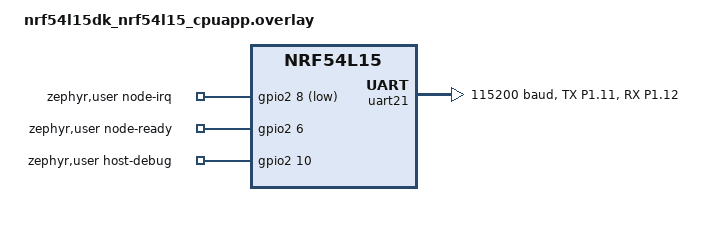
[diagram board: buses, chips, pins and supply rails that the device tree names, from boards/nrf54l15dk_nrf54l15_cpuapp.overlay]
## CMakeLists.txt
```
cmake_minimum_required(VERSION 3.20.0)

# Zephyr discovers out-of-tree modules while find_package() runs, so this list
# must be complete before loading Zephyr.
get_filename_component(MULTI_MCU_ROOT "${CMAKE_CURRENT_LIST_DIR}/../.." ABSOLUTE)
list(APPEND EXTRA_ZEPHYR_MODULES
    "${MULTI_MCU_ROOT}/libraries/protocol"
    "${MULTI_MCU_ROOT}/libraries/node-api"
    "${MULTI_MCU_ROOT}/libraries/diagnostics"
    "${MULTI_MCU_ROOT}/libraries/boot-protocol"
    "${MULTI_MCU_ROOT}/libraries/firmware-image"
    "${MULTI_MCU_ROOT}/libraries/stm32-rom-boot"
)

find_package(Zephyr REQUIRED HINTS $ENV{ZEPHYR_BASE})
project(multi_mcu_host C)

option(MULTI_MCU_PHASE6_UNCONFIRMED_TRIAL_DEMO
       "Build a development image that deliberately remains unconfirmed" OFF)
option(MULTI_MCU_PHASE7_STM_BOOTLOADER_DEMO
       "Build the opt-in STM32 custom bootloader recovery/update client" OFF)
option(MULTI_MCU_PHASE9_CONTROL "Build the opt-in MCUmanager host control group" OFF)
option(MULTI_MCU_PHASE10_UPDATE "Build PC-streamed STM32 updates and supervision" OFF)
option(MULTI_MCU_PHASE11_ROM "Build factory ROM bootloader repair" OFF)
option(MULTI_MCU_PHASE12_METRICS "Build operator reliability metrics" OFF)
option(MULTI_MCU_RELIABILITY "Build watchdog and automatic node recovery" OFF)

# Sysbuild stores image-scoped command-line values as properties; plain option()
# does not import them into the child application's CMake cache.
if(SYSBUILD)
    foreach(profile_option MULTI_MCU_PHASE6_UNCONFIRMED_TRIAL_DEMO
                           MULTI_MCU_PHASE7_STM_BOOTLOADER_DEMO
                           MULTI_MCU_PHASE9_CONTROL MULTI_MCU_PHASE10_UPDATE
                           MULTI_MCU_PHASE11_ROM MULTI_MCU_PHASE12_METRICS MULTI_MCU_RELIABILITY)
        unset(profile_value)
        zephyr_get(profile_value VAR ${profile_option})
        if(DEFINED profile_value)
            set(${profile_option} "${profile_value}" CACHE BOOL "Selected firmware profile" FORCE)
        endif()
    endforeach()
endif()
if(MULTI_MCU_PHASE10_UPDATE AND NOT MULTI_MCU_PHASE9_CONTROL)
    message(FATAL_ERROR "Phase 10 requires Phase 9 control")
endif()
if(MULTI_MCU_PHASE11_ROM AND NOT MULTI_MCU_PHASE10_UPDATE)
    message(FATAL_ERROR "Phase 11 requires Phase 10")
endif()
if(MULTI_MCU_PHASE12_METRICS AND NOT MULTI_MCU_PHASE11_ROM)
    message(FATAL_ERROR "Phase 12 requires Phase 11 recovery")
endif()
if(MULTI_MCU_PHASE9_CONTROL AND MULTI_MCU_PHASE7_STM_BOOTLOADER_DEMO)
    message(FATAL_ERROR "Phase 9 control and Phase 7 demo are independent profiles")
endif()
set(MULTI_MCU_PHASE7_STM_IMAGE "" CACHE FILEPATH
    "Optional signed STM32 slot image embedded in the Phase 7 demo")

if(MULTI_MCU_PHASE7_STM_BOOTLOADER_DEMO)
    target_sources(app PRIVATE
        src/phase7_bootloader_main.c
        src/bootloader/HostBootloaderClient.c
        src/communication/HostTransport.c
    )
    target_compile_definitions(app PRIVATE MULTI_MCU_PHASE7_STM_BOOTLOADER_DEMO=1)
    if(MULTI_MCU_PHASE7_STM_IMAGE)
        get_filename_component(MULTI_MCU_PHASE7_STM_IMAGE_ABS
            "${MULTI_MCU_PHASE7_STM_IMAGE}" ABSOLUTE BASE_DIR "${CMAKE_CURRENT_SOURCE_DIR}")
        if(NOT EXISTS "${MULTI_MCU_PHASE7_STM_IMAGE_ABS}")
            message(FATAL_ERROR "STM32 signed image not found: ${MULTI_MCU_PHASE7_STM_IMAGE_ABS}")
        endif()
        generate_inc_file_for_target(app "${MULTI_MCU_PHASE7_STM_IMAGE_ABS}"
                                     "${ZEPHYR_BINARY_DIR}/include/generated/phase7_stm_image.inc")
        target_compile_definitions(app PRIVATE MULTI_MCU_PHASE7_STM_IMAGE_EMBEDDED=1)
    endif()
else()
    target_sources(app PRIVATE
        src/main.c
        src/communication/HostTransport.c
        src/node_manager/HostNodeManager.c
        src/platform/HostSignals.c
    )
endif()

if(MULTI_MCU_PHASE9_CONTROL)
    if(NOT CONFIG_MCUMGR)
        message(FATAL_ERROR "Phase 9 requires phase6_mcumgr.conf and phase9_control.conf")
    endif()
    target_sources(app PRIVATE src/control/HostControl.c)
    target_compile_definitions(app PRIVATE MULTI_MCU_PHASE9_CONTROL=1)
endif()
if(MULTI_MCU_PHASE10_UPDATE)
    target_sources(app PRIVATE src/control/HostUpdateAdapter.c src/bootloader/HostStmUpdate.c)
    target_compile_definitions(app PRIVATE MULTI_MCU_PHASE10_UPDATE=1)
    target_compile_options(app PRIVATE -fstack-usage)
endif()
if(MULTI_MCU_PHASE11_ROM)
    target_compile_definitions(app PRIVATE MULTI_MCU_PHASE11_ROM=1)
endif()
if(MULTI_MCU_PHASE12_METRICS)
    target_compile_definitions(app PRIVATE MULTI_MCU_PHASE12_METRICS=1)
endif()

target_include_directories(app PRIVATE
    include
    "${MULTI_MCU_ROOT}/examples/virtual-io/include"
)
if(MULTI_MCU_PHASE6_UNCONFIRMED_TRIAL_DEMO)
    target_compile_definitions(app PRIVATE MULTI_MCU_PHASE6_UNCONFIRMED_TRIAL_DEMO=1)
endif()

if(MULTI_MCU_RELIABILITY)
    if(NOT MULTI_MCU_PHASE12_METRICS OR NOT CONFIG_WATCHDOG OR NOT CONFIG_HWINFO)
        message(FATAL_ERROR "Reliability requires Phase12 plus reliability.conf")
    endif()
    target_sources(app PRIVATE src/platform/HostReliability.c src/platform/HostRecoveryPolicy.c)
    target_compile_definitions(app PRIVATE MULTI_MCU_RELIABILITY=1)
endif()
```

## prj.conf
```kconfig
# Phase 1 board bring-up: independent console logging and onboard GPIO only.
CONFIG_GPIO=y
CONFIG_LOG=y
CONFIG_LOG_MODE_DEFERRED=y
CONFIG_LOG_DEFAULT_LEVEL=3
CONFIG_CONSOLE=y
CONFIG_SERIAL=y
CONFIG_UART_INTERRUPT_DRIVEN=y

# Keep the bring-up thread simple and make stack usage visible during testing.
CONFIG_MAIN_STACK_SIZE=2048
CONFIG_THREAD_NAME=y
CONFIG_INIT_STACKS=y
CONFIG_THREAD_STACK_INFO=y
```

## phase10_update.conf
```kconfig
# The portable update context is static; the main stack covers the CBOR adapter.
CONFIG_MAIN_STACK_SIZE=4096
```

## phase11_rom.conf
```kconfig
# Only the inter-MCU UART changes; debug VCOM remains SMP 8N1.
CONFIG_UART_USE_RUNTIME_CONFIGURE=y
CONFIG_PSA_WANT_ALG_SHA_256=y
```

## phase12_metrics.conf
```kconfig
# Same functional operator/recovery profile with read-only reliability metrics.
CONFIG_THREAD_STACK_INFO=y
CONFIG_INIT_STACKS=y
# Metrics has 26 flat fields; predict a two-byte CBOR map header (>23 keys).
CONFIG_MCUMGR_SMP_CBOR_MAX_MAIN_MAP_ENTRIES=32
```

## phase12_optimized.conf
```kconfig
# Operator events use SMP; retain warnings/errors and remove informational logs.
CONFIG_LOG_MAX_LEVEL=2
```

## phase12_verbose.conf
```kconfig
# Baseline measurement: retain informational logs.
CONFIG_LOG_MAX_LEVEL=3
```

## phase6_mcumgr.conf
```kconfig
# Phase 6 MCUboot/MCUmgr serial update profile. This fragment is selected
# explicitly with EXTRA_CONF_FILE and is not part of the normal host profile.
CONFIG_BOOTLOADER_MCUBOOT=y

CONFIG_FLASH=y
CONFIG_FLASH_MAP=y
CONFIG_STREAM_FLASH=y

CONFIG_NET_BUF=y
CONFIG_ZCBOR=y
CONFIG_CRC=y
CONFIG_BASE64=y
CONFIG_MCUMGR=y
CONFIG_UART_MCUMGR=y
CONFIG_MCUMGR_TRANSPORT_UART=y
CONFIG_IMG_MANAGER=y
CONFIG_MCUMGR_GRP_IMG=y
CONFIG_MCUMGR_GRP_OS=y
CONFIG_REBOOT=y

# Image upload and management handlers execute on the system work queue.
CONFIG_SYSTEM_WORKQUEUE_STACK_SIZE=2304
```

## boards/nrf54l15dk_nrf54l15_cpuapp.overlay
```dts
#include <zephyr/dt-bindings/pinctrl/nrf-pinctrl.h>

/ {
	chosen {
		multi-mcu,node-uart = &uart21;
	};

	zephyr,user {
		node-irq-gpios = <&gpio2 8 (GPIO_ACTIVE_LOW | GPIO_PULL_UP)>;
		node-ready-gpios = <&gpio2 6 (GPIO_ACTIVE_HIGH | GPIO_PULL_DOWN)>;
		host-debug-gpios = <&gpio2 10 GPIO_ACTIVE_HIGH>;
	};
};

&pinctrl {
	host_uart_default: host_uart_default {
		group1 {
			psels = <NRF_PSEL(UART_TX, 1, 11)>;
		};

		group2 {
			psels = <NRF_PSEL(UART_RX, 1, 12)>;
			bias-pull-up;
		};
	};

	host_uart_sleep: host_uart_sleep {
		group1 {
			psels = <NRF_PSEL(UART_TX, 1, 11)>,
				<NRF_PSEL(UART_RX, 1, 12)>;
			low-power-enable;
		};
	};
};

&uart21 {
	status = "okay";
	current-speed = <115200>;
	pinctrl-0 = <&host_uart_default>;
	pinctrl-1 = <&host_uart_sleep>;
	pinctrl-names = "default", "sleep";
};
```

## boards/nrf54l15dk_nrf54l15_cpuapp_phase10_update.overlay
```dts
/ {
    zephyr,user {
        node-reset-gpios = <&gpio1 8 GPIO_ACTIVE_LOW>;
        node-boot-gpios = <&gpio1 14 GPIO_ACTIVE_HIGH>;
    };
};
&button2 { status = "disabled"; };
&led3 { status = "disabled"; };
```

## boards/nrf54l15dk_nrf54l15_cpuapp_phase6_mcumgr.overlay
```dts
/*
 * Internal-RRAM MCUboot layout derived from the NCS 3.4.1 nRF54L15
 * samples/dfu/smp_svr board configuration. The slots are equal-sized so
 * MCUboot swap/revert is available without external flash.
 */

/delete-node/ &boot_partition;
/delete-node/ &slot0_partition;
/delete-node/ &slot1_partition;
/delete-node/ &storage_partition;

&cpuapp_rram {
	partitions {
		boot_partition: partition@0 {
			compatible = "zephyr,mapped-partition";
			label = "mcuboot";
			reg = <0x0 DT_SIZE_K(68)>;
		};

		slot0_partition: partition@11000 {
			compatible = "zephyr,mapped-partition";
			label = "image-0";
			reg = <0x11000 DT_SIZE_K(696)>;
		};

		slot1_partition: partition@bf000 {
			compatible = "zephyr,mapped-partition";
			label = "image-1";
			reg = <0xbf000 DT_SIZE_K(696)>;
		};

		storage_partition: partition@16d000 {
			compatible = "zephyr,mapped-partition";
			label = "storage";
			reg = <0x16d000 DT_SIZE_K(64)>;
		};
	};
};
```

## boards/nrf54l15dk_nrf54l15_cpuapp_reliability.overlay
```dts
/* Application-domain watchdog; older firmware profiles leave it unchanged. */
&wdt31 {
    status = "okay";
};
```

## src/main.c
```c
#include <errno.h>
#include <stdbool.h>
#include <stdint.h>

#include <zephyr/device.h>
#include <zephyr/devicetree.h>
#if defined(CONFIG_BOOTLOADER_MCUBOOT)
#include <zephyr/dfu/mcuboot.h>
#endif
#include <zephyr/drivers/gpio.h>
#include <zephyr/kernel.h>
#include <zephyr/logging/log.h>
#include <zephyr/sys/atomic.h>
#include <zephyr/sys/util.h>

#include "HostNodeManager.h"
#if defined(MULTI_MCU_RELIABILITY)
#include "HostReliability.h"
#endif
#include "HostSignals.h"
#include "HostTransport.h"
#if defined(MULTI_MCU_PHASE9_CONTROL)
#include "HostControl.h"
#endif
#if defined(MULTI_MCU_PHASE10_UPDATE)
#include "HostUpdateAdapter.h"
#endif
#include "diagnostics/DiagnosticsFault.h"
#include "node_api/NodeServices.h"
#include "virtual_io/VirtualIo.h"

LOG_MODULE_REGISTER(host_bringup, LOG_LEVEL_INF);

#define HOST_BLINK_INTERVAL_MS 500
#define HOST_SENSOR_SAMPLE_INTERVAL_MS 5000
#define HOST_ACTUATOR_DEMO_DURATION_MS 2000U
#define HOST_FAULT_CONTROL_HOLD_MS 1500
#define HOST_MAINTENANCE_CONTROL_HOLD_MS 5000
#define HOST_SHUTDOWN_CONTROL_HOLD_MS 8000

#define HOST_LED_NODE DT_ALIAS(led0)
#define HOST_BUTTON_NODE DT_ALIAS(sw0)

#if !DT_NODE_HAS_STATUS(HOST_LED_NODE, okay)
#error "The selected board must provide an enabled led0 devicetree alias"
#endif

static const struct gpio_dt_spec Host_Led = GPIO_DT_SPEC_GET(HOST_LED_NODE, gpios);

#if DT_NODE_HAS_STATUS(HOST_BUTTON_NODE, okay) && !defined(MULTI_MCU_PHASE9_CONTROL)
#define HOST_HAS_BUTTON 1
static const struct gpio_dt_spec Host_Button = GPIO_DT_SPEC_GET(HOST_BUTTON_NODE, gpios);
static struct gpio_callback Host_ButtonCallback;
static atomic_t Host_ButtonChangeCount;

static void Host_ButtonPressed(const struct device *device, struct gpio_callback *callback,
                               gpio_port_pins_t pins) {
    ARG_UNUSED(device);
    ARG_UNUSED(callback);
    ARG_UNUSED(pins);

    atomic_inc(&Host_ButtonChangeCount);
}
#else
#define HOST_HAS_BUTTON 0
#endif

static int Host_ConfigureLed(void) {
    if (!gpio_is_ready_dt(&Host_Led)) {
        LOG_ERR("led0 GPIO controller is not ready");
        return -ENODEV;
    }

    return gpio_pin_configure_dt(&Host_Led, GPIO_OUTPUT_INACTIVE);
}

#if HOST_HAS_BUTTON
static int Host_ConfigureButton(void) {
    int result;

    if (!gpio_is_ready_dt(&Host_Button)) {
        LOG_ERR("sw0 GPIO controller is not ready");
        return -ENODEV;
    }

    result = gpio_pin_configure_dt(&Host_Button, GPIO_INPUT);
    if (result != 0) {
        return result;
    }

    gpio_init_callback(&Host_ButtonCallback, Host_ButtonPressed, BIT(Host_Button.pin));
    result = gpio_add_callback(Host_Button.port, &Host_ButtonCallback);
    if (result != 0) {
        return result;
    }

    return gpio_pin_interrupt_configure_dt(&Host_Button, GPIO_INT_EDGE_BOTH);
}
#endif

#if !defined(MULTI_MCU_PHASE9_CONTROL)
static void Host_RequestDemoOperation(void) {
    const HostNodeManager_Status status = HostNodeManager_GetStatus();
    uint32_t operation_id;
    int result;

    if (status.node_lifecycle_state == NODE_API_LIFECYCLE_MAINTENANCE ||
        status.node_lifecycle_state == NODE_API_LIFECYCLE_SHUTDOWN) {
        LOG_WRN("demo operation suppressed while node lifecycle state is %u",
                status.node_lifecycle_state);
        return;
    }
    if (HostNodeManager_HasService(VIRTUAL_IO_ACTUATOR_SERVICE_ID)) {
        uint8_t duration[4];

        duration[0] = (uint8_t)HOST_ACTUATOR_DEMO_DURATION_MS;
        duration[1] = (uint8_t)(HOST_ACTUATOR_DEMO_DURATION_MS >> 8U);
        duration[2] = (uint8_t)(HOST_ACTUATOR_DEMO_DURATION_MS >> 16U);
        duration[3] = (uint8_t)(HOST_ACTUATOR_DEMO_DURATION_MS >> 24U);
        result = HostNodeManager_CallService(VIRTUAL_IO_ACTUATOR_SERVICE_ID,
                                             VIRTUAL_IO_ACTUATOR_COMMAND_START, duration,
                                             sizeof(duration), &operation_id);
        if (result == 0) {
            LOG_INF("requested virtual actuator operation %u", operation_id);
        }
    } else if (HostNodeManager_HasService(VIRTUAL_IO_SENSOR_SERVICE_ID)) {
        result =
            HostNodeManager_CallService(VIRTUAL_IO_SENSOR_SERVICE_ID,
                                        VIRTUAL_IO_SENSOR_COMMAND_SAMPLE, NULL, 0U, &operation_id);
        if (result == 0) {
            LOG_INF("requested virtual sensor sample operation %u", operation_id);
        }
    }
}
#endif

int main(void) {
    int result;
    bool led_on = false;
    HostLink_State reported_link_state = HOST_LINK_DISABLED;
    int64_t next_blink = 0;
#if !defined(MULTI_MCU_PHASE9_CONTROL)
    int64_t next_sensor_sample = 0;
#endif
#if HOST_HAS_BUTTON
    atomic_val_t reported_button_changes = 0;
    int64_t button_pressed_at = 0;
    bool button_down = false;
    uint8_t selected_injection = 0U;
    uint8_t injection_to_enable = 0U;
    bool fault_disable_requested = false;
    NodeApi_LifecycleState desired_lifecycle_state = NODE_API_LIFECYCLE_ONLINE;
    bool lifecycle_request_sent = false;
#endif
#if !defined(MULTI_MCU_PHASE9_CONTROL)
    bool requested_diagnostic_status = false;
    bool requested_lifecycle_status = false;
    bool requested_lifecycle_versions = false;
#endif
#if defined(CONFIG_BOOTLOADER_MCUBOOT) && !defined(MULTI_MCU_PHASE6_UNCONFIRMED_TRIAL_DEMO)
    bool trial_confirmation_pending = !boot_is_img_confirmed();
#endif

    result = Host_ConfigureLed();
    if (result != 0) {
        LOG_ERR("LED initialization failed: %d", result);
        return result;
    }

#if HOST_HAS_BUTTON
    result = Host_ConfigureButton();
    if (result != 0) {
        LOG_ERR("button initialization failed: %d", result);
        return result;
    }
#else
    LOG_WRN("selected board has no enabled sw0 alias; button test disabled");
#endif

    result = HostSignals_Initialize();
    if (result != 0) {
        LOG_ERR("sideband GPIO initialization failed: %d", result);
        return result;
    }

    result = HostTransport_Initialize();
    if (result != 0) {
        LOG_WRN("node UART unavailable: %d", result);
    }
    HostNodeManager_Initialize();
#if defined(MULTI_MCU_PHASE9_CONTROL)
    HostControl_Initialize();
#if defined(MULTI_MCU_RELIABILITY)
    result = HostReliability_Initialize();
    if (result != 0) {
        LOG_ERR("Host watchdog initialization failed: %d", result);
        return result;
    }
#endif
#endif

#if defined(CONFIG_BOOTLOADER_MCUBOOT)
    if (!boot_is_img_confirmed()) {
#if defined(MULTI_MCU_PHASE6_UNCONFIRMED_TRIAL_DEMO)
        LOG_WRN("development rollback demo: deliberately leaving trial image unconfirmed");
#else
        LOG_INF("MCUboot trial image awaiting compatible node discovery");
#endif
    }
#endif

#if defined(MULTI_MCU_PHASE9_CONTROL)
    LOG_INF("nRF54L15 host Phase 9 control API started (SMP group 64, API 1)");
#else
    LOG_INF("nRF54L15 host Phase 5 supervision demo started (remote reset disabled)");
#endif

    for (;;) {
#if HOST_HAS_BUTTON
        atomic_val_t button_changes = atomic_get(&Host_ButtonChangeCount);

        if (button_changes != reported_button_changes) {
            const bool active = gpio_pin_get_dt(&Host_Button) > 0;

            reported_button_changes = button_changes;
            if (active && !button_down) {
                button_down = true;
                button_pressed_at = k_uptime_get();
            } else if (!active && button_down) {
                const int64_t held_ms = k_uptime_get() - button_pressed_at;

                button_down = false;
                if (held_ms >= HOST_SHUTDOWN_CONTROL_HOLD_MS) {
                    if (desired_lifecycle_state != NODE_API_LIFECYCLE_SHUTDOWN &&
                        !HostNodeManager_HasService(NODE_API_SERVICE_LIFECYCLE)) {
                        LOG_WRN("node does not advertise a compatible lifecycle service");
                    } else {
                        desired_lifecycle_state =
                            desired_lifecycle_state == NODE_API_LIFECYCLE_SHUTDOWN
                                ? NODE_API_LIFECYCLE_ONLINE
                                : NODE_API_LIFECYCLE_SHUTDOWN;
                        lifecycle_request_sent = false;
                        LOG_INF("shutdown control: %s requested",
                                desired_lifecycle_state == NODE_API_LIFECYCLE_SHUTDOWN ? "enter"
                                                                                       : "exit");
                    }
                } else if (held_ms >= HOST_MAINTENANCE_CONTROL_HOLD_MS) {
                    if (desired_lifecycle_state != NODE_API_LIFECYCLE_MAINTENANCE &&
                        !HostNodeManager_HasService(NODE_API_SERVICE_LIFECYCLE)) {
                        LOG_WRN("node does not advertise a compatible lifecycle service");
                    } else {
                        desired_lifecycle_state =
                            desired_lifecycle_state == NODE_API_LIFECYCLE_MAINTENANCE
                                ? NODE_API_LIFECYCLE_ONLINE
                                : NODE_API_LIFECYCLE_MAINTENANCE;
                        lifecycle_request_sent = false;
                        LOG_INF("maintenance control: %s requested",
                                desired_lifecycle_state == NODE_API_LIFECYCLE_MAINTENANCE ? "enter"
                                                                                          : "exit");
                    }
                } else if (held_ms >= HOST_FAULT_CONTROL_HOLD_MS) {
                    if (!HostNodeManager_HasService(NODE_API_SERVICE_DIAGNOSTICS)) {
                        LOG_WRN("node does not advertise development diagnostics");
                    } else {
                        selected_injection++;
                        if (selected_injection > (uint8_t)DIAGNOSTICS_INJECTION_MAX) {
                            selected_injection = 0U;
                        }
                        injection_to_enable = selected_injection;
                        fault_disable_requested = true;
                        LOG_INF(
                            "fault control: selected injection %u; disabling previous selection",
                            selected_injection);
                    }
                } else {
                    LOG_INF("short onboard button press (%lld ms)", held_ms);
                    Host_RequestDemoOperation();
                }
            }
        }
#endif

#if defined(MULTI_MCU_PHASE10_UPDATE)
        HostUpdateAdapter_Process();
        if (!HostUpdateAdapter_UsesBootTransport()) {
            HostNodeManager_Process();
        }
#else
        HostNodeManager_Process();
#endif
#if defined(MULTI_MCU_PHASE9_CONTROL)
        HostControl_Process();
#if defined(MULTI_MCU_RELIABILITY)
        HostReliability_Process();
        HostReliability_MainProgress();
#endif
#endif
        HostNodeManager_Status link_status = HostNodeManager_GetStatus();
        if (link_status.state != reported_link_state) {
            reported_link_state = link_status.state;
            LOG_INF("node link: %s (ready=%u irq=%u)", HostNodeManager_StateName(link_status.state),
                    HostSignals_NodeReady(), HostSignals_NodeIrqAsserted());
        }

#if defined(CONFIG_BOOTLOADER_MCUBOOT) && !defined(MULTI_MCU_PHASE6_UNCONFIRMED_TRIAL_DEMO)
        /* ONLINE is reached only after wire/management compatibility and service discovery. */
        if (trial_confirmation_pending && link_status.state == HOST_LINK_ONLINE) {
            /* Attempt once per boot; a failure remains unconfirmed and reverts on reset. */
            trial_confirmation_pending = false;
            result = boot_write_img_confirmed();
            if (result != 0) {
                LOG_ERR("MCUboot image confirmation failed: %d", result);
            } else {
                LOG_INF("MCUboot trial image confirmed after compatible node discovery");
            }
        }
#endif

#if !defined(MULTI_MCU_PHASE9_CONTROL)
        if (link_status.state != HOST_LINK_ONLINE) {
            requested_diagnostic_status = false;
            requested_lifecycle_status = false;
            requested_lifecycle_versions = false;
        } else if (HostNodeManager_HasService(NODE_API_SERVICE_LIFECYCLE) &&
                   !requested_lifecycle_status) {
            result = HostNodeManager_LifecycleGetStatus();
            if (result == 0) {
                requested_lifecycle_status = true;
            }
        } else if (HostNodeManager_HasService(NODE_API_SERVICE_LIFECYCLE) &&
                   !requested_lifecycle_versions) {
            result = HostNodeManager_LifecycleGetVersions();
            if (result == 0) {
                requested_lifecycle_versions = true;
            }
        } else if (HostNodeManager_HasService(NODE_API_SERVICE_DIAGNOSTICS) &&
                   !requested_diagnostic_status) {
            result = HostNodeManager_DiagnosticsGetStatus();
            if (result == 0) {
                requested_diagnostic_status = true;
            }
        }

#if HOST_HAS_BUTTON
        if (link_status.state != HOST_LINK_ONLINE) {
            lifecycle_request_sent = false;
        }
        if (link_status.state == HOST_LINK_ONLINE &&
            HostNodeManager_HasService(NODE_API_SERVICE_LIFECYCLE)) {
            const NodeApi_LifecycleState observed = link_status.node_lifecycle_state;

            if (observed == desired_lifecycle_state) {
                if (lifecycle_request_sent) {
                    LOG_INF("lifecycle control: node reached state %u", observed);
                }
                lifecycle_request_sent = false;
            } else if (!lifecycle_request_sent) {
                if (desired_lifecycle_state == NODE_API_LIFECYCLE_MAINTENANCE) {
                    result = HostNodeManager_LifecycleEnterMaintenance();
                } else if (desired_lifecycle_state == NODE_API_LIFECYCLE_SHUTDOWN) {
                    result = HostNodeManager_LifecycleEnterShutdown();
                } else if (observed == NODE_API_LIFECYCLE_MAINTENANCE) {
                    result = HostNodeManager_LifecycleExitMaintenance();
                } else if (observed == NODE_API_LIFECYCLE_SHUTDOWN) {
                    result = HostNodeManager_LifecycleExitShutdown();
                } else {
                    result = -EAGAIN;
                }
                if (result == 0) {
                    lifecycle_request_sent = true;
                }
            }
        }

        if (link_status.state == HOST_LINK_ONLINE && fault_disable_requested) {
            result = HostNodeManager_DiagnosticsDisableAll();
            if (result == 0) {
                fault_disable_requested = false;
            }
        } else if (link_status.state == HOST_LINK_ONLINE && injection_to_enable != 0U &&
                   link_status.node_injection_mask == 0U) {
            result = HostNodeManager_DiagnosticsEnable(injection_to_enable);
            if (result == 0) {
                LOG_INF("fault control: requested injection %u", injection_to_enable);
                injection_to_enable = 0U;
            }
        }
#endif

        if (link_status.state == HOST_LINK_ONLINE && link_status.node_diagnostic_queued != 0U) {
            (void)HostNodeManager_DiagnosticsGetRecord();
        }

        if (link_status.state == HOST_LINK_ONLINE &&
            link_status.node_lifecycle_state != NODE_API_LIFECYCLE_MAINTENANCE &&
            link_status.node_lifecycle_state != NODE_API_LIFECYCLE_SHUTDOWN &&
            HostNodeManager_HasService(VIRTUAL_IO_SENSOR_SERVICE_ID) &&
            k_uptime_get() >= next_sensor_sample) {
            uint32_t operation_id;

            next_sensor_sample = k_uptime_get() + HOST_SENSOR_SAMPLE_INTERVAL_MS;
            result = HostNodeManager_CallService(VIRTUAL_IO_SENSOR_SERVICE_ID,
                                                 VIRTUAL_IO_SENSOR_COMMAND_SAMPLE, NULL, 0U,
                                                 &operation_id);
            if (result == 0) {
                LOG_INF("requested periodic virtual sensor sample operation %u", operation_id);
            }
        }

#endif
        if (k_uptime_get() >= next_blink) {
            next_blink = k_uptime_get() + HOST_BLINK_INTERVAL_MS;
            led_on = !led_on;
            result = gpio_pin_set_dt(&Host_Led, led_on ? 1 : 0);
            if (result != 0) {
                LOG_ERR("LED update failed: %d", result);
                return result;
            }
        }

#if defined(MULTI_MCU_RELIABILITY)
        HostSignals_Wait();
#else
        k_msleep(10);
#endif
    }

    return 0;
}
```

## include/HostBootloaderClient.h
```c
#ifndef HOST_BOOTLOADER_CLIENT_H
#define HOST_BOOTLOADER_CLIENT_H

#include <stdbool.h>
#include <stddef.h>
#include <stdint.h>

typedef enum {
    HOST_BOOTLOADER_CLIENT_IDLE = 0,
    HOST_BOOTLOADER_CLIENT_QUERYING,
    HOST_BOOTLOADER_CLIENT_READY,
    HOST_BOOTLOADER_CLIENT_ERASING,
    HOST_BOOTLOADER_CLIENT_WRITING,
    HOST_BOOTLOADER_CLIENT_FINALIZING,
    HOST_BOOTLOADER_CLIENT_SETTING_PENDING,
    HOST_BOOTLOADER_CLIENT_VERIFYING_STATE,
    HOST_BOOTLOADER_CLIENT_COMPLETE,
    HOST_BOOTLOADER_CLIENT_REBOOTING,
    HOST_BOOTLOADER_CLIENT_FAILED
} HostBootloaderClient_State;

typedef struct {
    HostBootloaderClient_State state;
    uint32_t image_size;
    uint32_t bytes_written;
    uint16_t next_sequence;
    uint8_t target_slot;
    uint8_t last_bootloader_status;
    int last_error;
} HostBootloaderClient_Status;

void HostBootloaderClient_Initialize(void);
int HostBootloaderClient_Query(void);
int HostBootloaderClient_StartUpdate(const uint8_t *image, size_t image_size);
int HostBootloaderClient_Reboot(void);
void HostBootloaderClient_Process(void);
HostBootloaderClient_Status HostBootloaderClient_GetStatus(void);
const char *HostBootloaderClient_StateName(HostBootloaderClient_State state);

#endif
```

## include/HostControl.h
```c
#ifndef HOST_CONTROL_H
#define HOST_CONTROL_H

/* Called only by the main thread; SMP handlers use snapshots and a bounded mailbox. */
void HostControl_Initialize(void);
void HostControl_Process(void);

#endif
```

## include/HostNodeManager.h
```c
#ifndef HOST_NODE_MANAGER_H
#define HOST_NODE_MANAGER_H

#include <stdbool.h>
#include <stddef.h>
#include <stdint.h>

#include "node_api/NodeCommands.h"
#include "node_api/NodeServices.h"

typedef enum {
    HOST_LINK_DISABLED = 0,
    HOST_LINK_DISCOVERING,
    HOST_LINK_IDENTITY,
    HOST_LINK_CAPABILITIES,
    HOST_LINK_SERVICES,
    HOST_LINK_ONLINE,
    HOST_LINK_DEGRADED,
    HOST_LINK_FAULT_LATCHED
} HostLink_State;

typedef struct {
    HostLink_State state;
    uint32_t session_generation;
    uint32_t capabilities;
    uint32_t timeouts;
    uint32_t ready_losses;
    uint32_t session_changes;
    uint32_t node_reboots;
    uint32_t rejected_responses;
    uint32_t received_events;
    uint32_t diagnostic_records;
    uint32_t diagnostic_overflows;
    uint32_t node_injection_mask;
    uint8_t node_diagnostic_queued;
    uint32_t next_operation_id;
    size_t service_count;
    NodeApi_ServiceDescriptor services[NODE_API_MAX_SERVICES];
    char identity[33];
    NodeApi_LifecycleState node_lifecycle_state;
    NodeApi_ResetReason node_reset_reason;
    uint16_t node_raw_reset_flags;
    uint32_t node_boot_count;
    uint32_t node_progress_count;
    uint16_t node_firmware_major;
    uint16_t node_firmware_minor;
    uint16_t node_firmware_patch;
    uint8_t node_wire_major;
    uint8_t node_wire_minor;
    uint16_t node_management_major;
    uint16_t node_management_minor;
    uint32_t node_build_id;
    uint32_t node_versions_session;
} HostNodeManager_Status;

/* Lifetime counters: survive manager reinitialization, reset with host reboot. */
typedef struct {
    uint32_t requests;
    uint32_t retries;
    uint32_t responses;
    uint32_t timeouts;
    uint32_t protocol_errors;
    uint32_t events;
    uint32_t manager_restarts;
    uint32_t online_count;
    uint32_t session_changes;
    uint32_t ready_losses;
    uint32_t node_reboots;
    uint32_t latency_count;
    uint64_t latency_sum_ms;
    uint32_t latency_max_ms;
    uint32_t latency_last_ms;
    uint32_t reliable_duplicates;
    uint32_t reliable_gaps;
    uint32_t event_ack_retries;
} HostNodeManager_Metrics;

HostNodeManager_Metrics HostNodeManager_GetMetrics(void);

typedef enum {
    HOST_NODE_RECORD_RESPONSE,
    HOST_NODE_RECORD_EVENT,
    HOST_NODE_RECORD_ERROR
} HostNodeManager_RecordKind;

typedef void (*HostNodeManager_RecordCallback)(HostNodeManager_RecordKind kind, uint32_t session,
                                               uint32_t operation, uint16_t service, uint16_t code,
                                               uint32_t status, const uint8_t *data, size_t length);

/* These functions, like the manager itself, are owned by the application's main thread. */
void HostNodeManager_SetRecordCallback(HostNodeManager_RecordCallback callback);
bool HostNodeManager_IsBusy(void);
bool HostNodeManager_RecoverySuppressed(void);
int HostNodeManager_CallServiceWithOperation(uint16_t service_id, uint16_t command_id,
                                             const uint8_t *data, size_t data_length,
                                             uint32_t operation_id);

void HostNodeManager_Initialize(void);
void HostNodeManager_LatchFault(void);
void HostNodeManager_Process(void);
HostNodeManager_Status HostNodeManager_GetStatus(void);
const char *HostNodeManager_StateName(HostLink_State state);
bool HostNodeManager_HasService(uint16_t service_id);
int HostNodeManager_CallService(uint16_t service_id, uint16_t command_id, const uint8_t *data,
                                size_t data_length, uint32_t *operation_id);
int HostNodeManager_DiagnosticsGetStatus(void);
int HostNodeManager_DiagnosticsEnable(uint8_t injection_id);
int HostNodeManager_DiagnosticsDisableAll(void);
int HostNodeManager_DiagnosticsGetRecord(void);
int HostNodeManager_LifecycleGetStatus(void);
int HostNodeManager_LifecycleGetVersions(void);
int HostNodeManager_LifecycleEnterMaintenance(void);
int HostNodeManager_LifecycleExitMaintenance(void);
int HostNodeManager_LifecycleEnterShutdown(void);
int HostNodeManager_LifecycleExitShutdown(void);

#endif
```

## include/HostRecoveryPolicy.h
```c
#ifndef HOST_RECOVERY_POLICY_H
#define HOST_RECOVERY_POLICY_H
#include <stdbool.h>
#include <stdint.h>
typedef struct {
    uint64_t deadline_ms;
    uint64_t pulse_ms[3];
    uint32_t consecutive;
    uint32_t attempts;
    uint32_t total;
    bool waiting;
    bool latched;
    bool online;
    const char *health;
    const char *reason;
} HostRecoveryPolicy_State;
void HostRecoveryPolicy_Initialize(HostRecoveryPolicy_State *state, uint64_t now);
void HostRecoveryPolicy_Clear(HostRecoveryPolicy_State *state, uint64_t now);
bool HostRecoveryPolicy_Process(HostRecoveryPolicy_State *state, uint64_t now, bool online,
                                bool blocked, bool peer_latched);
#endif
```

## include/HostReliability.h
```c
#ifndef HOST_RELIABILITY_H
#define HOST_RELIABILITY_H
#include <stdbool.h>
#include <stdint.h>
typedef struct {
    const char *health;
    const char *reason;
    uint32_t recovery_attempts;
    uint32_t recovery_total;
    uint32_t reset_cause;
    bool watchdog;
    bool gpio_interrupts;
    bool failed;
} HostReliability_Status;
int HostReliability_Initialize(void);
void HostReliability_Process(void);
void HostReliability_MainProgress(void);
void HostReliability_Clear(void);
HostReliability_Status HostReliability_GetStatus(void);
#endif
```

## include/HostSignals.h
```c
#ifndef HOST_SIGNALS_H
#define HOST_SIGNALS_H

#include <stdbool.h>

int HostSignals_Initialize(void);
/* True only when both optional sideband interrupt callbacks were enabled. */
bool HostSignals_InterruptsEnabled(void);
bool HostSignals_NodeReady(void);
bool HostSignals_NodeIrqAsserted(void);
int HostSignals_SetDebug(bool active);
/* ISR-safe wake and main-thread bounded wait for the reliability profile. */
void HostSignals_Wake(void);
void HostSignals_Wait(void);

#endif
```

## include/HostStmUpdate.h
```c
#ifndef HOST_STM_UPDATE_H
#define HOST_STM_UPDATE_H

#include "boot_protocol/BootProtocol.h"
#include <stdbool.h>
#include <stddef.h>
#include <stdint.h>

typedef enum {
    HOST_STM_UPDATE_IDLE = 0,
    HOST_STM_UPDATE_QUERYING,
    HOST_STM_UPDATE_ERASING,
    HOST_STM_UPDATE_READY,
    HOST_STM_UPDATE_WRITING,
    HOST_STM_UPDATE_FINALIZING,
    HOST_STM_UPDATE_PENDING,
    HOST_STM_UPDATE_BOOTING,
    HOST_STM_UPDATE_VERIFYING,
    HOST_STM_UPDATE_RETURNING,
    HOST_STM_UPDATE_COMPLETE,
    HOST_STM_UPDATE_ROLLED_BACK,
    HOST_STM_UPDATE_FAILED,
    HOST_STM_UPDATE_ABORTED
} HostStmUpdate_State;

typedef struct {
    void *context;
    int (*send)(void *, const uint8_t *, size_t);
    size_t (*read)(void *, uint8_t *, size_t);
    int64_t (*now)(void *);
    int (*reset)(void *);
    void (*runtime_restart)(void *);
    bool (*runtime_online)(void *);
} HostStmUpdate_Ops;

typedef struct {
    HostStmUpdate_State state;
    uint32_t offset;
    uint32_t total;
    uint8_t slot;
    uint8_t confirmed_slot;
    uint8_t boot_state;
    uint8_t protocol;
    int error;
    bool active;
} HostStmUpdate_Status;

typedef struct {
    HostStmUpdate_Ops ops;
    HostStmUpdate_Status status;
    uint8_t header[512];
    uint8_t tx[BOOT_PROTOCOL_MAX_FRAME_SIZE];
    uint8_t rx[BOOT_PROTOCOL_MAX_FRAME_SIZE * 2U];
    size_t tx_length;
    size_t rx_length;
    uint16_t sequence;
    uint16_t pending_sequence;
    uint16_t pending_length;
    uint8_t pending_command;
    uint8_t previous_confirmed_slot;
    uint8_t retries;
    int64_t deadline;
    int64_t activity;
    bool outstanding;
    bool reset_only;
    bool committed;
    bool boot_owned;
    HostStmUpdate_State outcome;
} HostStmUpdate_Context;

void HostStmUpdate_Initialize(HostStmUpdate_Context *, const HostStmUpdate_Ops *);
int HostStmUpdate_Begin(HostStmUpdate_Context *, const uint8_t header[512], uint32_t total);
int HostStmUpdate_Reset(HostStmUpdate_Context *);
int HostStmUpdate_Write(HostStmUpdate_Context *, uint32_t offset, const uint8_t *, size_t);
int HostStmUpdate_Finish(HostStmUpdate_Context *);
int HostStmUpdate_Abort(HostStmUpdate_Context *);
void HostStmUpdate_Process(HostStmUpdate_Context *);
bool HostStmUpdate_UsesBootTransport(const HostStmUpdate_Context *);
const char *HostStmUpdate_StateName(HostStmUpdate_State);

#endif
```

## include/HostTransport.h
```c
#ifndef HOST_TRANSPORT_H
#define HOST_TRANSPORT_H

#include <stdbool.h>
#include <stddef.h>
#include <stdint.h>

typedef struct {
    uint32_t received_bytes;
    uint32_t transmitted_bytes;
    uint32_t receive_overflows;
    uint32_t transmit_overflows;
    uint32_t uart_errors;
} HostTransport_Stats;

int HostTransport_Initialize(void);
bool HostTransport_IsAvailable(void);
size_t HostTransport_Read(uint8_t *data, size_t capacity);
int HostTransport_Write(const uint8_t *data, size_t length);
void HostTransport_Flush(void);
int HostTransport_ConfigureRom(bool enabled);
HostTransport_Stats HostTransport_GetStats(void);

#endif
```

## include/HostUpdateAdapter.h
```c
#ifndef HOST_UPDATE_ADAPTER_H
#define HOST_UPDATE_ADAPTER_H
#include <stdbool.h>
#include <stdint.h>
struct smp_streamer;
void HostUpdateAdapter_Initialize(uint32_t boot_id);
void HostUpdateAdapter_Process(void);
/* Main-thread automatic reset; refuses queued or active update/repair ownership. */
int HostUpdateAdapter_TryRecoveryReset(void);
bool HostUpdateAdapter_IsBusy(void);
bool HostUpdateAdapter_ReserveRuntime(void);
void HostUpdateAdapter_SetRuntimeBusy(bool busy);
bool HostUpdateAdapter_UsesBootTransport(void);
bool HostUpdateAdapter_IsAvailable(void);
int HostUpdateAdapter_StatusRead(struct smp_streamer *);
int HostUpdateAdapter_ResetWrite(struct smp_streamer *);
int HostUpdateAdapter_UpdateWrite(struct smp_streamer *);
bool HostUpdateAdapter_RomAvailable(void);
int HostUpdateAdapter_RomStatusRead(struct smp_streamer *);
int HostUpdateAdapter_RomWrite(struct smp_streamer *);
#endif
```

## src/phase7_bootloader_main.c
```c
#include <errno.h>
#include <stdbool.h>
#include <stdint.h>

#include <zephyr/devicetree.h>
#include <zephyr/drivers/gpio.h>
#include <zephyr/kernel.h>
#include <zephyr/logging/log.h>

#include "HostBootloaderClient.h"
#include "HostTransport.h"

LOG_MODULE_REGISTER(host_bootloader_demo, LOG_LEVEL_INF);

#define HOST_LED_NODE DT_ALIAS(led0)
#define HOST_BLINK_INTERVAL_MS 500

static const struct gpio_dt_spec Host_Led = GPIO_DT_SPEC_GET(HOST_LED_NODE, gpios);

#if defined(MULTI_MCU_PHASE7_STM_IMAGE_EMBEDDED)
static const uint8_t Host_StmImage[] = {
#include <phase7_stm_image.inc>
};
#endif

int main(void) {
    HostBootloaderClient_State reported_state = HOST_BOOTLOADER_CLIENT_IDLE;
    int64_t next_blink = 0;
    bool led_on = false;
    int result;

    if (!gpio_is_ready_dt(&Host_Led)) {
        return -ENODEV;
    }
    result = gpio_pin_configure_dt(&Host_Led, GPIO_OUTPUT_INACTIVE);
    if (result != 0) {
        return result;
    }
    result = HostTransport_Initialize();
    if (result != 0) {
        LOG_ERR("STM bootloader UART unavailable: %d", result);
        return result;
    }
    HostBootloaderClient_Initialize();
    result = HostBootloaderClient_Query();
    if (result != 0) {
        LOG_ERR("initial boot state query failed: %d", result);
        return result;
    }
    LOG_INF("Phase 7 STM bootloader recovery client started");

    for (;;) {
        HostBootloaderClient_Status status;

        HostBootloaderClient_Process();
        status = HostBootloaderClient_GetStatus();
        if (status.state != reported_state) {
            reported_state = status.state;
            LOG_INF("STM update: %s (%u/%u bytes, protocol=%u, error=%d)",
                    HostBootloaderClient_StateName(status.state), status.bytes_written,
                    status.image_size, status.last_bootloader_status, status.last_error);
#if defined(MULTI_MCU_PHASE7_STM_IMAGE_EMBEDDED)
            if (status.state == HOST_BOOTLOADER_CLIENT_READY) {
                result = HostBootloaderClient_StartUpdate(Host_StmImage, sizeof(Host_StmImage));
                if (result != 0) {
                    LOG_ERR("cannot start STM update: %d", result);
                }
            } else if (status.state == HOST_BOOTLOADER_CLIENT_COMPLETE) {
                LOG_INF("signed image accepted and pending; reset STM32 to start its trial boot");
            }
#else
            if (status.state == HOST_BOOTLOADER_CLIENT_READY) {
                LOG_INF("recovery link ready; no image embedded in this build");
            }
#endif
        }
        if (k_uptime_get() >= next_blink) {
            next_blink = k_uptime_get() + HOST_BLINK_INTERVAL_MS;
            led_on = !led_on;
            (void)gpio_pin_set_dt(&Host_Led, led_on ? 1 : 0);
        }
        k_msleep(10);
    }
    return 0;
}
```
